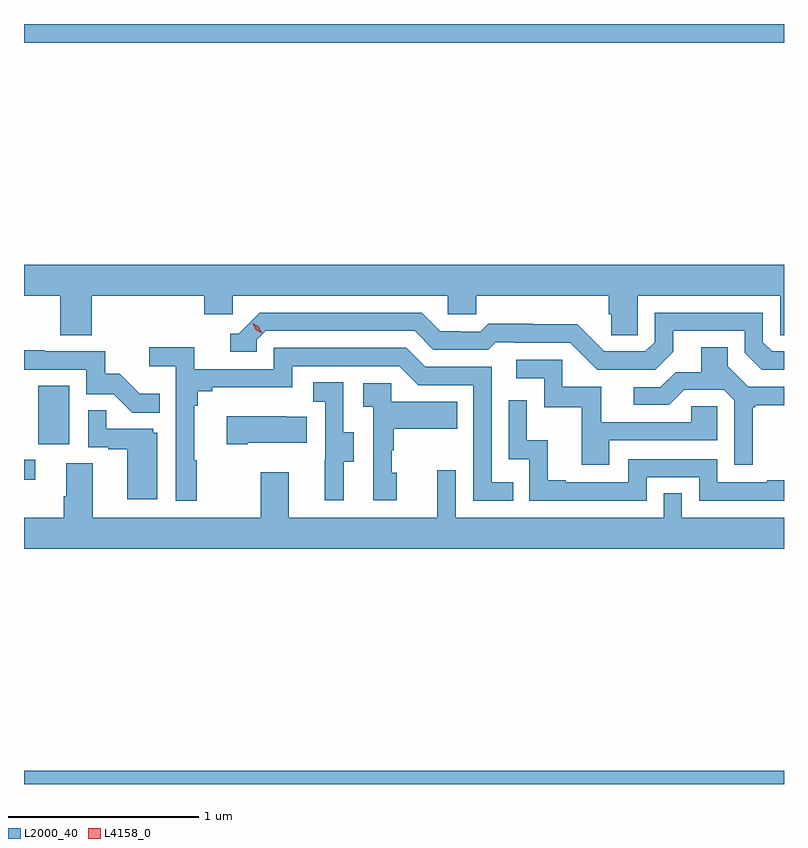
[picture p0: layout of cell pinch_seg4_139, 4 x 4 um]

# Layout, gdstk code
import gdstk
lib = gdstk.Library(unit=1e-6, precision=1e-09)
def R(c, l, rs):  # rectangles x0, y0, x1, y1
    for r in rs: c.add(gdstk.rectangle(r[:2], r[2:], *l))
def P(c, l, *ps):  # polygons
    for p in ps: c.add(gdstk.Polygon(p, *l))
L2000_40 = (2000, 40)
L4158_0 = (4158, 0)

pinch_seg4_139 = lib.new_cell('pinch_seg4_139')
R(pinch_seg4_139, L2000_40, [(1118.513,807.57,1122.513,807.64), (1118.513,809.172,1118.572,809.277), (1118.588,809.358,1118.752,809.665), (1118.513,811.472,1122.513,811.57)])
P(pinch_seg4_139, L2000_40, [(1118.87,810.14),(1119.461,810.14),(1119.461,810.042),(1119.612,810.042),(1119.612,810.14),(1120.743,810.14),(1120.743,810.042),(1120.893,810.042),(1120.893,810.14),(1121.591,810.14),(1121.591,810.042),(1121.605,810.042),(1121.605,809.932),(1121.742,809.932),(1121.742,810.14),(1122.492,810.14),(1122.492,809.932),(1122.513,809.932),(1122.513,810.304),(1118.513,810.304),(1118.513,810.14),(1118.705,810.14),(1118.705,809.932),(1118.87,809.932)],
  [(1121.929,809.845),(1121.929,809.955),(1122.306,809.955),(1122.306,809.841),(1122.396,809.751),(1122.513,809.751),(1122.513,809.847),(1122.45,809.847),(1122.402,809.895),(1122.402,810.051),(1121.832,810.051),(1121.832,809.895),(1121.784,809.847),(1121.568,809.847),(1121.426,809.989),(1121.19,809.989),(1121.19,809.992),(1120.957,809.992),(1120.915,809.949),(1120.812,809.949),(1120.812,809.952),(1120.705,809.952),(1120.606,810.051),(1119.753,810.051),(1119.642,809.94),(1119.599,809.94),(1119.599,809.844),(1119.738,809.844),(1119.738,809.907),(1119.786,809.955),(1120.569,809.955),(1120.668,809.856),(1120.957,809.856),(1120.996,809.895),(1121.095,809.895),(1121.095,809.892),(1121.388,809.892),(1121.529,809.751),(1121.835,809.751)],
  [(1122.349,809.553),(1122.361,809.553),(1122.361,809.564),(1122.513,809.564),(1122.513,809.661),(1122.324,809.661),(1122.217,809.768),(1122.217,809.87),(1122.077,809.87),(1122.077,809.738),(1121.942,809.738),(1121.862,809.658),(1121.721,809.658),(1121.721,809.565),(1121.908,809.565),(1121.989,809.646),(1122.195,809.646),(1122.252,809.589),(1122.252,809.25),(1122.349,809.25)],
  [(1119.421,809.273),(1119.409,809.273),(1119.409,809.561),(1119.428,809.561),(1119.428,809.638),(1119.505,809.638),(1119.505,809.657),(1119.924,809.657),(1119.924,809.769),(1120.488,809.769),(1120.587,809.67),(1120.878,809.67),(1120.878,809.061),(1121.087,809.061),(1121.087,809.157),(1120.974,809.157),(1120.974,809.766),(1120.624,809.766),(1120.525,809.865),(1119.828,809.865),(1119.828,809.754),(1119.41,809.754),(1119.41,809.87),(1119.171,809.87),(1119.171,809.768),(1119.312,809.768),(1119.312,809.061),(1119.421,809.061)],
  [(1119.227,809.623),(1119.123,809.623),(1119.016,809.73),(1118.94,809.73),(1118.94,809.847),(1118.621,809.847),(1118.621,809.852),(1118.513,809.852),(1118.513,809.751),(1118.841,809.751),(1118.841,809.622),(1118.985,809.622),(1119.083,809.524),(1119.227,809.524)],
  [(1121.593,809.379),(1122.162,809.379),(1122.162,809.559),(1122.025,809.559),(1122.025,809.475),(1121.551,809.475),(1121.551,809.661),(1121.346,809.661),(1121.346,809.802),(1121.103,809.802),(1121.103,809.706),(1121.25,809.706),(1121.25,809.553),(1121.449,809.553),(1121.449,809.25),(1121.593,809.25)],
  [(1120.195,809.266),(1120.249,809.266),(1120.249,809.421),(1120.194,809.421),(1120.194,809.684),(1120.035,809.684),(1120.035,809.581),(1120.098,809.581),(1120.098,809.277),(1120.097,809.277),(1120.097,809.064),(1120.195,809.064)],
  [(1120.474,809.208),(1120.449,809.208),(1120.449,809.327),(1120.459,809.327),(1120.459,809.441),(1120.793,809.441),(1120.793,809.581),(1120.446,809.581),(1120.446,809.679),(1120.299,809.679),(1120.299,809.555),(1120.35,809.555),(1120.35,809.064),(1120.474,809.064)],
  [(1121.79,809.184),(1122.066,809.184),(1122.066,809.061),(1122.513,809.061),(1122.513,809.17),(1122.425,809.17),(1122.425,809.157),(1122.162,809.157),(1122.162,809.28),(1121.694,809.28),(1121.694,809.157),(1121.365,809.157),(1121.365,809.17),(1121.27,809.17),(1121.27,809.378),(1121.16,809.378),(1121.16,809.59),(1121.064,809.59),(1121.064,809.28),(1121.172,809.28),(1121.172,809.061),(1121.79,809.061)],
  [(1119.214,809.418),(1119.192,809.418),(1119.192,809.439),(1118.945,809.439),(1118.945,809.537),(1118.85,809.537),(1118.85,809.343),(1118.957,809.343),(1118.957,809.331),(1119.056,809.331),(1119.056,809.07),(1119.214,809.07)],
  [(1119.691,809.366),(1120.001,809.366),(1120.001,809.503),(1119.893,809.503),(1119.893,809.506),(1119.579,809.506),(1119.579,809.359),(1119.691,809.359)],
  [(1122.513,808.972),(1121.976,808.972),(1121.976,809.099),(1121.88,809.099),(1121.88,808.972),(1120.785,808.972),(1120.785,809.221),(1120.688,809.221),(1120.688,808.972),(1119.907,808.972),(1119.907,809.212),(1119.76,809.212),(1119.76,808.972),(1118.875,808.972),(1118.875,809.258),(1118.735,809.258),(1118.735,809.084),(1118.723,809.084),(1118.723,808.972),(1118.513,808.972),(1118.513,808.808),(1122.513,808.808)])
P(pinch_seg4_139, L4158_0, [(1119.764,809.943),(1119.733,809.962),(1119.717,809.995),(1119.717,809.995),(1119.718,809.995),(1119.748,809.976),(1119.764,809.943),(1119.764,809.943)])

lib.write_gds('pinch_seg4_139.gds')
